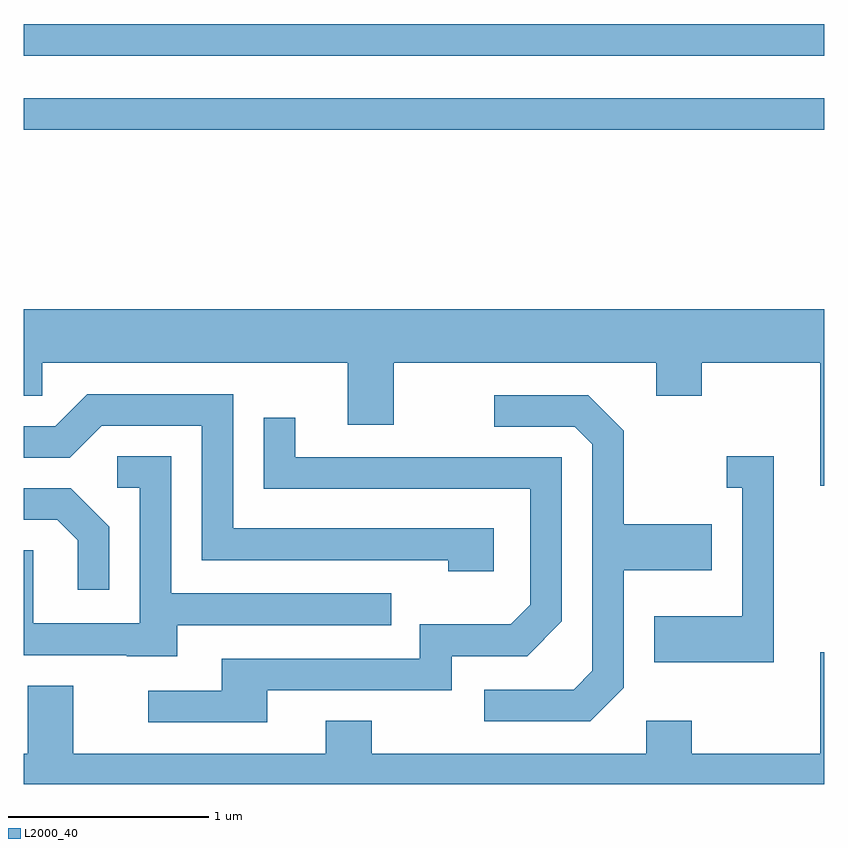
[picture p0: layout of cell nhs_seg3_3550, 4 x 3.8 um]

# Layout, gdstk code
import gdstk
lib = gdstk.Library(unit=1e-6, precision=1e-09)
def R(c, l, rs):  # rectangles x0, y0, x1, y1
    for r in rs: c.add(gdstk.rectangle(r[:2], r[2:], *l))
def P(c, l, *ps):  # polygons
    for p in ps: c.add(gdstk.Polygon(p, *l))
L2000_40 = (2000, 40)

nhs_seg3_3550 = lib.new_cell('nhs_seg3_3550')
R(nhs_seg3_3550, L2000_40, [(289.611,1147.161,293.611,1147.319), (289.611,1147.531,293.611,1147.689)])
P(nhs_seg3_3550, L2000_40, [(293.611,1146.264),(289.611,1146.264),(289.611,1145.831),(289.704,1145.831),(289.704,1145.996),(291.231,1145.996),(291.231,1145.686),(291.459,1145.686),(291.459,1145.996),(292.771,1145.996),(292.771,1145.831),(292.999,1145.831),(292.999,1145.996),(293.591,1145.996),(293.591,1145.381),(293.611,1145.381)],
  [(291.959,1145.169),(290.659,1145.169),(290.659,1145.839),(289.929,1145.839),(289.769,1145.679),(289.611,1145.679),(289.611,1145.521),(289.842,1145.521),(290.002,1145.681),(290.501,1145.681),(290.501,1145.011),(291.731,1145.011),(291.731,1144.956),(291.959,1144.956)],
  [(292.609,1144.374),(292.609,1144.961),(293.049,1144.961),(293.049,1145.189),(292.609,1145.189),(292.609,1145.657),(292.432,1145.834),(291.963,1145.834),(291.963,1145.676),(292.364,1145.676),(292.451,1145.589),(292.451,1144.457),(292.359,1144.364),(291.913,1144.364),(291.913,1144.206),(292.442,1144.206)],
  [(290.829,1144.361),(291.749,1144.361),(291.749,1144.531),(292.127,1144.531),(292.299,1144.704),(292.299,1145.524),(290.969,1145.524),(290.969,1145.723),(290.811,1145.723),(290.811,1145.366),(292.141,1145.366),(292.141,1144.787),(292.044,1144.689),(291.591,1144.689),(291.591,1144.519),(290.601,1144.519),(290.601,1144.359),(290.233,1144.359),(290.233,1144.201),(290.829,1144.201)],
  [(293.359,1145.529),(293.123,1145.529),(293.123,1145.371),(293.201,1145.371),(293.201,1144.729),(292.761,1144.729),(292.761,1144.501),(293.359,1144.501)],
  [(290.379,1144.686),(291.448,1144.686),(291.448,1144.844),(290.349,1144.844),(290.349,1145.529),(290.078,1145.529),(290.078,1145.371),(290.191,1145.371),(290.191,1144.694),(289.659,1144.694),(289.659,1145.059),(289.611,1145.059),(289.611,1144.536),(290.125,1144.536),(290.125,1144.531),(290.379,1144.531)],
  [(290.039,1145.177),(289.847,1145.369),(289.611,1145.369),(289.611,1145.211),(289.779,1145.211),(289.881,1145.109),(289.881,1144.863),(290.039,1144.863)],
  [(293.611,1144.549),(293.591,1144.549),(293.591,1144.044),(292.949,1144.044),(292.949,1144.209),(292.721,1144.209),(292.721,1144.044),(291.349,1144.044),(291.349,1144.209),(291.121,1144.209),(291.121,1144.044),(289.859,1144.044),(289.859,1144.384),(289.631,1144.384),(289.631,1144.044),(289.611,1144.044),(289.611,1143.892),(293.611,1143.892)])

lib.write_gds('nhs_seg3_3550.gds')
